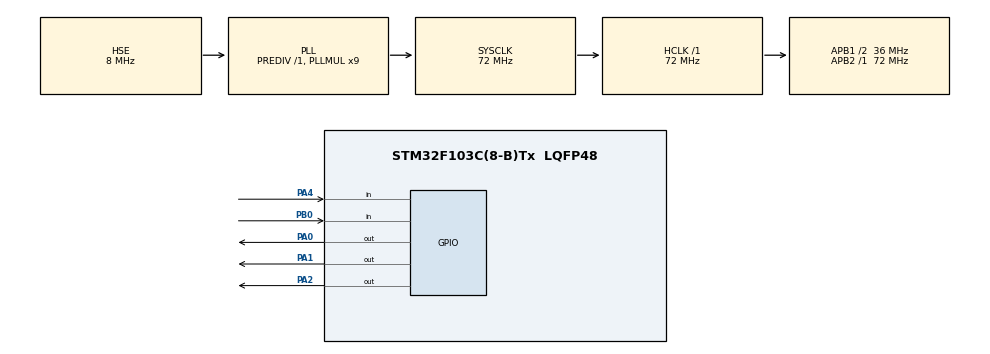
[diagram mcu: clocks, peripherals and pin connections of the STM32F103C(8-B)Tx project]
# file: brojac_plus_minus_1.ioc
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Mcu.Family=STM32F1
Mcu.Name=STM32F103C(8-B)Tx
Mcu.Package=LQFP48
NVIC.PriorityGroup=NVIC_PRIORITYGROUP_4
PA0-WKUP.Signal=GPIO_Output
PA1.Signal=GPIO_Output
PA13.Mode=Serial_Wire
PA13.Signal=SYS_JTMS-SWDIO
PA14.Mode=Serial_Wire
PA14.Signal=SYS_JTCK-SWCLK
PA2.Signal=GPIO_Output
PA4.GPIO_PuPd=GPIO_PULLDOWN
PA4.Signal=GPIO_Input
PB0.GPIO_PuPd=GPIO_PULLDOWN
PB0.Signal=GPIO_Input
PD0-OSC_IN.Mode=HSE-External-Oscillator
PD0-OSC_IN.Signal=RCC_OSC_IN
PD1-OSC_OUT.Mode=HSE-External-Oscillator
PD1-OSC_OUT.Signal=RCC_OSC_OUT
ProjectManager.HeapSize=0x200
ProjectManager.StackSize=0x400
ProjectManager.TargetToolchain=STM32CubeIDE
RCC.AHBFreq_Value=72000000
RCC.APB1CLKDivider=RCC_HCLK_DIV2
RCC.APB1Freq_Value=36000000
RCC.APB1TimFreq_Value=72000000
RCC.APB2Freq_Value=72000000
RCC.APB2TimFreq_Value=72000000
RCC.HCLKFreq_Value=72000000
RCC.PLLMUL=RCC_PLL_MUL9
RCC.PLLSourceVirtual=RCC_PLLSOURCE_HSE
RCC.SYSCLKFreq_VALUE=72000000
RCC.SYSCLKSource=RCC_SYSCLKSOURCE_PLLCLK
RCC.USBFreq_Value=72000000
TIM2.Channel-Output\ Compare1\ No\ Output=TIM_CHANNEL_1
TIM2.Prescaler=35999
VP_TIM2_VS_no_output1.Mode=Output Compare1 No Output
board=custom

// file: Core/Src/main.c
/* USER CODE BEGIN Header */
/**
  ******************************************************************************
  * @file           : main.c
  * @brief          : Main program body
  ******************************************************************************
  * @attention
  *
  * Copyright (c) 2022 STMicroelectronics.
  * All rights reserved.
  *
  * This software is licensed under terms that can be found in the LICENSE file
  * in the root directory of this software component.
  * If no LICENSE file comes with this software, it is provided AS-IS.
  *
  ******************************************************************************
  */
#include <stdbool.h>
#include <time.h>
/* USER CODE END Header */
#include "main.h"
#include "tim.h"
#include "gpio.h"

void SystemClock_Config(void);

int main(void)
{

  /* MCU Configuration--------------------------------------------------------*/

  /* Reset of all peripherals, Initializes the Flash interface and the Systick. */
  HAL_Init();

  /* Configure the system clock */
  SystemClock_Config();

  /* Initialize all configured peripherals */
  MX_GPIO_Init();
  MX_TIM2_Init();

  /* USER CODE BEGIN 2 */
  bool gornji_taster_prethodni = 0, donji_taster_prethodni = 0, gornji_taster_trenutni, donji_taster_trenutni;
  bool pritisnut_gornji_taster = false, pritisnut_donji_taster = false;
  bool oba_pritisnuta = 0, duze_od_2_sekunde = 0;
  bool crvena = 0, zuta = 0, zelena = 0;

  int brojac = 0, brojac_tmp;

  clock_t start, current_time;
  double time_hold;

  HAL_TIM_Base_Start(&htim2);
  /* USER CODE END 2 */

  /* Infinite loop */
  /* USER CODE BEGIN WHILE */
  while (1)
  {
	  HAL_Delay(100);

	  pritisnut_gornji_taster = HAL_GPIO_ReadPin(GPIOB, GPIO_PIN_0);
	  pritisnut_donji_taster = HAL_GPIO_ReadPin(GPIOA, GPIO_PIN_4);

	  if(pritisnut_gornji_taster && pritisnut_donji_taster){
		  if (!oba_pritisnuta){
			  brojac = 0;
			  oba_pritisnuta = 1;
			  start = htim2.Instance->CNT;

		  }
		  else{
			  current_time = htim2.Instance->CNT;
			  time_hold = ((double)(current_time - start))/2000;
			  if(!duze_od_2_sekunde && time_hold >= 2){
				  duze_od_2_sekunde = 1;
				  if (brojac <7){
					  ++brojac;
				  }
				  start = current_time;
			  }
			  else if (duze_od_2_sekunde && time_hold >= 1){
				  if (brojac <7)
				  {
					  ++brojac;
				  }
				  start = current_time;
			  }
		  }
	  }
	  else{
			oba_pritisnuta = 0;
			duze_od_2_sekunde = 0;

			if (pritisnut_gornji_taster){
				gornji_taster_trenutni = 1;

				if (gornji_taster_prethodni == 0 && brojac<7)
				{
				  ++brojac;
				}
			}
			else{
				gornji_taster_trenutni = 0;
				pritisnut_gornji_taster = 0;
			}

			if (pritisnut_donji_taster){
				donji_taster_trenutni = 1;

				if(donji_taster_prethodni == 0 && brojac > 0)
				{
					--brojac;
				}
			}
			else{
				donji_taster_trenutni = 0;
				pritisnut_donji_taster = 0;
			}
	  }

	  brojac_tmp = brojac;

	  if (brojac_tmp/4 == 1){
		  crvena = 1;
		  brojac_tmp -= 4;
	  }
	  else{
		  crvena = 0;
	  }

	  if (brojac_tmp/2 == 1){
		  zuta = 1;
		  brojac_tmp -= 2;
	  }
	  else{
		  zuta = 0;
	  }

	  if (brojac_tmp == 1){
		  zelena = 1;
	  }
	  else{
		  zelena = 0;
	  }

	  if (crvena)
		  HAL_GPIO_WritePin(GPIOA, GPIO_PIN_2, GPIO_PIN_RESET);
	  else
		  HAL_GPIO_WritePin(GPIOA, GPIO_PIN_2, GPIO_PIN_SET);

	  if (zuta)
		  HAL_GPIO_WritePin(GPIOA, GPIO_PIN_1, GPIO_PIN_RESET);
	  else
		  HAL_GPIO_WritePin(GPIOA, GPIO_PIN_1, GPIO_PIN_SET);

	  if (zelena)
		  HAL_GPIO_WritePin(GPIOA, GPIO_PIN_0, GPIO_PIN_RESET);
	  else
		  HAL_GPIO_WritePin(GPIOA, GPIO_PIN_0, GPIO_PIN_SET);
    /* USER CODE END WHILE */

    /* USER CODE BEGIN 3 */
	  donji_taster_prethodni = donji_taster_trenutni;
	  gornji_taster_prethodni = gornji_taster_trenutni;
  /* USER CODE END 3 */
  }
}

void SystemClock_Config(void)
{
  RCC_OscInitTypeDef RCC_OscInitStruct = {0};
  RCC_ClkInitTypeDef RCC_ClkInitStruct = {0};

  /** Initializes the RCC Oscillators according to the specified parameters
  * in the RCC_OscInitTypeDef structure.
  */
  RCC_OscInitStruct.OscillatorType = RCC_OSCILLATORTYPE_HSE;
  RCC_OscInitStruct.HSEState = RCC_HSE_ON;
  RCC_OscInitStruct.HSEPredivValue = RCC_HSE_PREDIV_DIV1;
  RCC_OscInitStruct.HSIState = RCC_HSI_ON;
  RCC_OscInitStruct.PLL.PLLState = RCC_PLL_ON;
  RCC_OscInitStruct.PLL.PLLSource = RCC_PLLSOURCE_HSE;
  RCC_OscInitStruct.PLL.PLLMUL = RCC_PLL_MUL9;
  if (HAL_RCC_OscConfig(&RCC_OscInitStruct) != HAL_OK)
  {
    Error_Handler();
  }

  /** Initializes the CPU, AHB and APB buses clocks
  */
  RCC_ClkInitStruct.ClockType = RCC_CLOCKTYPE_HCLK|RCC_CLOCKTYPE_SYSCLK
                              |RCC_CLOCKTYPE_PCLK1|RCC_CLOCKTYPE_PCLK2;
  RCC_ClkInitStruct.SYSCLKSource = RCC_SYSCLKSOURCE_PLLCLK;
  RCC_ClkInitStruct.AHBCLKDivider = RCC_SYSCLK_DIV1;
  RCC_ClkInitStruct.APB1CLKDivider = RCC_HCLK_DIV2;
  RCC_ClkInitStruct.APB2CLKDivider = RCC_HCLK_DIV1;

  if (HAL_RCC_ClockConfig(&RCC_ClkInitStruct, FLASH_LATENCY_2) != HAL_OK)
  {
    Error_Handler();
  }
}

void Error_Handler(void)
{
  /* USER CODE BEGIN Error_Handler_Debug */
  /* User can add his own implementation to report the HAL error return state */
  __disable_irq();
  while (1)
  {
	  ;
  }
  /* USER CODE END Error_Handler_Debug */
}
